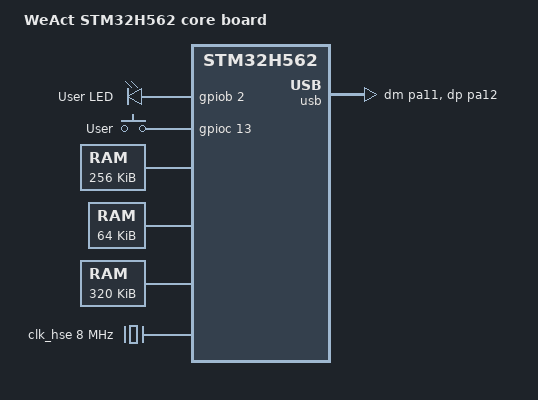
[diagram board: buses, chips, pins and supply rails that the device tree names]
/dts-v1/;
#include <st/h5/stm32h562.dtsi>
#include <st/h5/stm32h562rgtx-pinctrl.dtsi>
#include <zephyr/dt-bindings/input/input-event-codes.h>
#include <mem.h>

/ {
	model = "WeAct STM32H562 core board";
    compatible = "weact,stm32h562_core";

	chosen {
		zephyr,sram = &sram1;
		zephyr,flash = &flash0;
		zephyr,code-partition = &slot0_partition;
	};

	aliases {
		led0 = &user_led;
	};

	leds: leds {
		compatible = "gpio-leds";
		user_led: led {
			gpios = <&gpiob 2 GPIO_ACTIVE_HIGH>;
			label = "User LED";
		};
	};

	gpio_keys {
		compatible = "gpio-keys";
		user_button: button {
			label = "User";
			gpios = <&gpioc 13 GPIO_ACTIVE_HIGH>;
			zephyr,code = <INPUT_KEY_0>;
		};
	};

	sram1: memory@20000000 {
		compatible = "zephyr,memory-region", "mmio-sram";
		reg = <0x20000000 DT_SIZE_K(256)>;
		zephyr,memory-region = "SRAM1";
	};

	sram2: memory@20040000 {
		compatible = "zephyr,memory-region", "mmio-sram";
		reg = <0x20040000 DT_SIZE_K(64)>;
		zephyr,memory-region = "SRAM2";
	};

	sram3: memory@20050000 {
		compatible = "zephyr,memory-region", "mmio-sram";
		reg = <0x20050000 DT_SIZE_K(320)>;
		zephyr,memory-region = "SRAM3";
	};
};

&clk_hse {
	clock-frequency = <DT_FREQ_M(8)>;
	status = "okay";
};

&clk_hsi48 {
	status = "okay";
};

&clk_lse {
	status = "okay";
};

&clk_lsi {
	status = "okay";
};

&clk_csi {
	status = "okay";
};

&pll {
	div-m = <1>;
	mul-n = <60>;
	div-p = <2>;
	div-q = <2>;
	div-r = <2>;
	clocks = <&clk_hse>;
	status = "okay";
};

&rcc {
	clocks = <&pll>;
	clock-frequency = <DT_FREQ_M(240)>;
	ahb-prescaler = <1>;
	apb1-prescaler = <1>;
	apb2-prescaler = <1>;
	apb3-prescaler = <1>;
};

&gpdma1 {
	status = "okay";
};

&gpdma2 {
	status = "okay";
};

&flash0 {
	reg = <0x08000000 DT_SIZE_M(2)>;
	
	partitions {
		compatible = "fixed-partitions";
		#address-cells = <1>;
		#size-cells = <1>;

		boot_partition: partition@0 {
			label = "mcuboot";
			reg = <0x00000000 DT_SIZE_K(64)>;
		};
		slot0_partition: partition@10000 {
			label = "image-0";
			reg = <0x00010000 DT_SIZE_K(960)>;
		};
		slot1_partition: partition@100000 {
			label = "image-1";
			reg = <0x00100000 DT_SIZE_K(960)>;
		};
		storage_partition: partition@1f0000 {
			label = "storage";
			reg = <0x001f0000 DT_SIZE_K(64)>;
		};
	};
};

zephyr_udc0: &usb {
	pinctrl-0 = <&usb_dm_pa11 &usb_dp_pa12>;
	pinctrl-names = "default";
	status = "okay";
};
